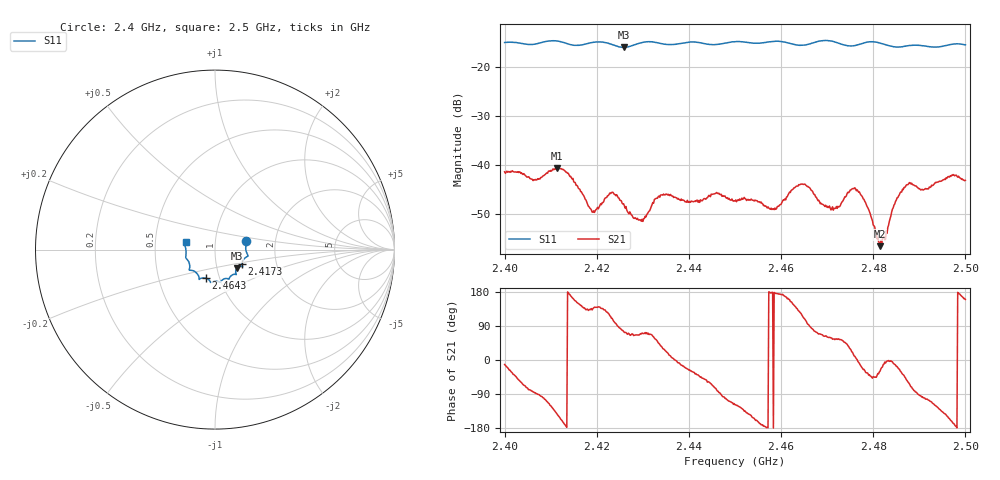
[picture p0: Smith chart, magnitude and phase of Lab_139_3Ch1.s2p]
# Hz S RI R 50
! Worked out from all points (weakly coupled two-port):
!   601 points, 2.4 GHz to 2.5 GHz, reference 50 ohm
!   highest |S21| = -40.61 dB at 2.4113 GHz (marker M1); lowest = -56.5 dB at 2.4815 GHz (marker M2)
!   lowest |S11| = -15.9 dB at 2.4258 GHz (marker M3), VSWR 1.38, Z = 62.3 - j13.3 ohm
!   |S11| at or under -10 dB: start of sweep to end of sweep
!   S12 and S22 are empty: the file has one direction only
!   S11 on the Smith chart (normalised r, x): 2.4 GHz: 1.41, +0.14; 2.4173 GHz: 1.34, -0.22; 2.4643 GHz: 0.86, -0.28; 2.5 GHz: 0.72, +0.06
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2.4e9  0.1724 0.0492  0.00842 -0.00177  0 0  0 0
2.4065e9  0.1725 -0.00406  0.000433 -0.00709  0 0  0 0
2.411333e9  0.1826 -0.0369  -0.0073 -0.00579  0 0  0 0
2.416667e9  0.1522 -0.0741  -0.00433 0.00319  0 0  0 0
2.417333e9  0.1513 -0.0815  -0.00349 0.00319  0 0  0 0
2.419167e9  0.1529 -0.0953  -0.00239 0.00232  0 0  0 0
2.423167e9  0.1446 -0.0938  -0.00183 0.00493  0 0  0 0
2.425833e9  0.1221 -0.1035  0.00103 0.00393  0 0  0 0
2.429667e9  0.1169 -0.1354  0.000979 0.00251  0 0  0 0
2.433333e9  0.1127 -0.1376  0.00338 0.00341  0 0  0 0
2.446e9  0.0481 -0.1644  0.00103 -0.00519  0 0  0 0
2.45e9  0.0291 -0.1812  -0.00204 -0.00382  0 0  0 0
2.4585e9  -0.0211 -0.1835  -0.00353 0.00011  0 0  0 0
2.464333e9  -0.0495 -0.1603  -0.00351 0.00543  0 0  0 0
2.466667e9  -0.0755 -0.1593  0.000663 0.00549  0 0  0 0
2.471333e9  -0.0878 -0.1616  0.002 0.00287  0 0  0 0
2.4765e9  -0.1219 -0.1174  0.00564 0.000109  0 0  0 0
2.4815e9  -0.1422 -0.106  0.00131 -0.000729  0 0  0 0
2.483333e9  -0.1407 -0.0896  0.00246 -5.94e-05  0 0  0 0
2.485e9  -0.1445 -0.0717  0.00424 -0.00128  0 0  0 0
2.4875e9  -0.1576 -0.0526  0.00343 -0.00535  0 0  0 0
2.5e9  -0.1643 0.0431  -0.0066 0.00243  0 0  0 0
